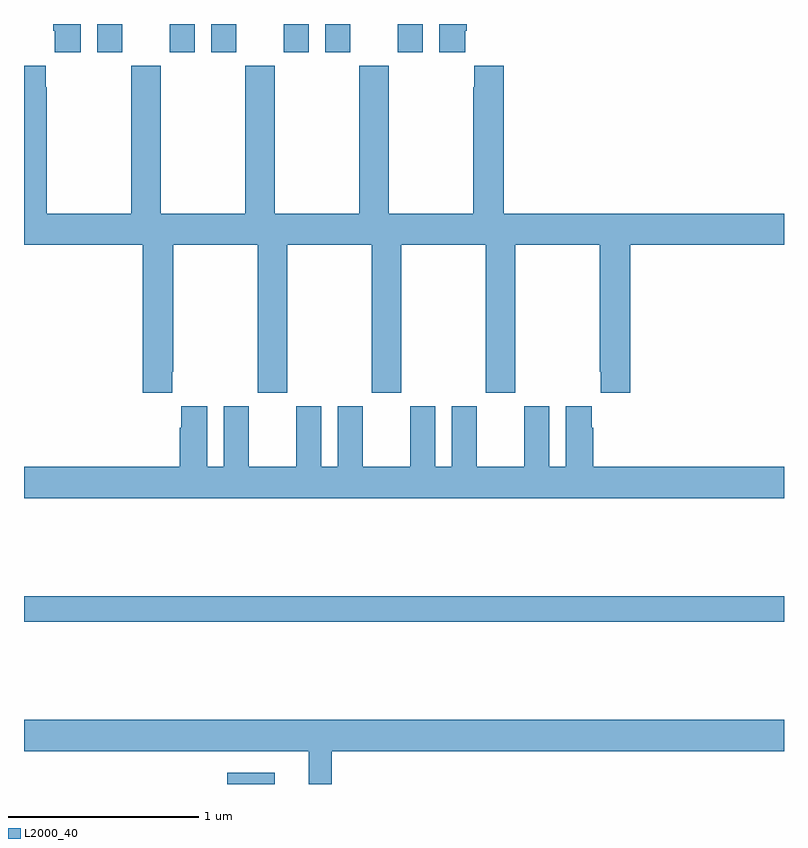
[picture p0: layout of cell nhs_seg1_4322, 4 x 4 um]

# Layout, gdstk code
import gdstk
lib = gdstk.Library(unit=1e-6, precision=1e-09)
def R(c, l, rs):  # rectangles x0, y0, x1, y1
    for r in rs: c.add(gdstk.rectangle(r[:2], r[2:], *l))
def P(c, l, *ps):  # polygons
    for p in ps: c.add(gdstk.Polygon(p, *l))
L2000_40 = (2000, 40)

nhs_seg1_4322 = lib.new_cell('nhs_seg1_4322')
R(nhs_seg1_4322, L2000_40, [(346.07,578.199,346.321,578.257), (345,579.052,349,579.188), (345.386,582.051,345.517,582.199), (345.767,582.051,345.898,582.199), (345.986,582.051,346.117,582.199), (346.367,582.051,346.498,582.199), (346.586,582.051,346.717,582.199), (346.967,582.051,347.098,582.199)])
P(nhs_seg1_4322, L2000_40, [(345.298,582.199),(345.155,582.199),(345.155,582.163),(345.161,582.163),(345.161,582.051),(345.298,582.051)],
  [(347.323,582.163),(347.33,582.163),(347.33,582.199),(347.186,582.199),(347.186,582.051),(347.323,582.051)],
  [(345.72,581.98),(345.565,581.98),(345.565,581.2),(345.12,581.2),(345.12,581.867),(345.115,581.867),(345.115,581.98),(345,581.98),(345,581.036),(345.626,581.036),(345.626,580.257),(345.781,580.257),(345.781,580.369),(345.786,580.369),(345.786,581.036),(346.231,581.036),(346.231,580.257),(346.386,580.257),(346.386,581.036),(346.831,581.036),(346.831,580.257),(346.986,580.257),(346.986,581.036),(347.431,581.036),(347.431,580.257),(347.586,580.257),(347.586,581.036),(348.031,581.036),(348.031,580.369),(348.035,580.369),(348.035,580.257),(348.191,580.257),(348.191,581.036),(349,581.036),(349,581.2),(347.525,581.2),(347.525,581.98),(347.369,581.98),(347.369,581.867),(347.365,581.867),(347.365,581.2),(346.92,581.2),(346.92,581.98),(346.765,581.98),(346.765,581.2),(346.32,581.2),(346.32,581.98),(346.165,581.98),(346.165,581.2),(345.72,581.2)],
  [(349,579.868),(347.996,579.868),(347.996,580.073),(347.989,580.073),(347.989,580.186),(347.852,580.186),(347.852,579.868),(347.764,579.868),(347.764,580.186),(347.633,580.186),(347.633,579.868),(347.383,579.868),(347.383,580.186),(347.252,580.186),(347.252,579.868),(347.164,579.868),(347.164,580.186),(347.033,580.186),(347.033,579.868),(346.783,579.868),(346.783,580.186),(346.652,580.186),(346.652,579.868),(346.564,579.868),(346.564,580.186),(346.433,580.186),(346.433,579.868),(346.183,579.868),(346.183,580.186),(346.052,580.186),(346.052,579.868),(345.964,579.868),(345.964,580.186),(345.827,580.186),(345.827,580.073),(345.821,580.073),(345.821,579.868),(345,579.868),(345,579.704),(349,579.704)],
  [(346.621,578.372),(349,578.372),(349,578.536),(345,578.536),(345,578.372),(346.499,578.372),(346.499,578.199),(346.621,578.199)])

lib.write_gds('nhs_seg1_4322.gds')
